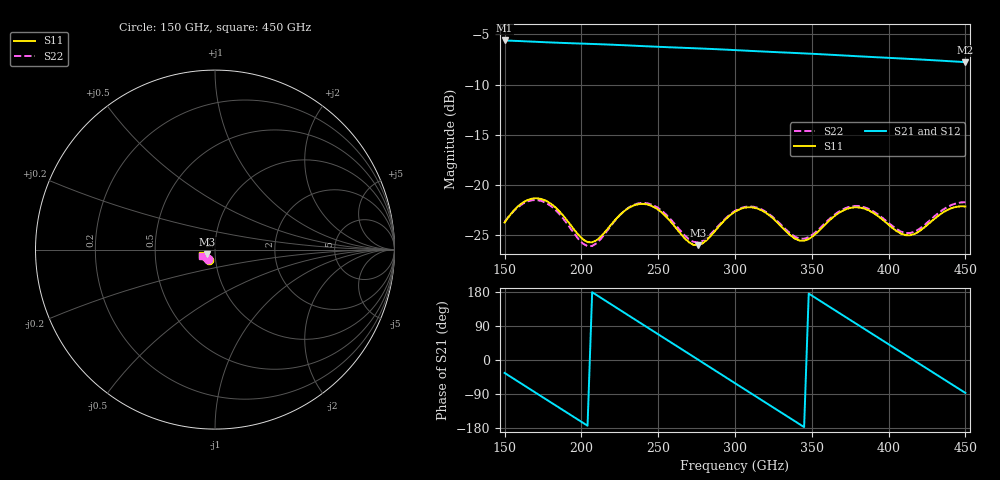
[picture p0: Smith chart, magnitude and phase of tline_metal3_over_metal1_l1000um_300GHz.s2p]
#  GHZ S DB R 50
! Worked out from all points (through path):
!   101 points, 150 GHz to 450 GHz, reference 50 ohm
!   highest |S21| = -5.60 dB at 150 GHz (marker M1); lowest = -7.8 dB at 450 GHz (marker M2)
!   group delay of S21, straight-line fit = 7.16 ps
!   lowest |S11| = -26.0 dB at 276 GHz (marker M3), VSWR 1.11, Z = 45.9 - j2.45 ohm
!   |S11| at or under -10 dB: start of sweep to end of sweep
!   |S22| runs from -26.1 to -21.5 dB; largest |S21 - S12| = 5.8e-14
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150  -23.72 -118.4  -5.60 -34.1  -5.60 -34.1  -23.63 -123.9
162  -21.71 -127.1  -5.68 -65.2  -5.68 -65.2  -21.83 -131.0
174  -21.38 -141.5  -5.76 -96.1  -5.76 -96.1  -21.57 -144.5
186  -22.65 -153.2  -5.84 -127.0  -5.84 -127.0  -22.92 -155.6
201  -25.40 -150.0  -5.92 -165.7  -5.92 -165.7  -25.82 -150.6
216  -24.54 -132.9  -6.00 155.6  -6.00 155.6  -24.70 -131.5
231  -22.25 -138.4  -6.10 116.8  -6.10 116.8  -22.20 -137.2
252  -22.68 -158.5  -6.25 62.7  -6.25 62.7  -22.50 -157.7
264  -24.72 -161.1  -6.32 31.8  -6.32 31.8  -24.45 -160.7
276  -25.97 -147.9  -6.39 0.8  -6.39 0.8  -25.70 -148.7
288  -24.38 -137.5  -6.47 -30.2  -6.47 -30.2  -24.24 -138.5
300  -22.64 -142.0  -6.56 -61.2  -6.56 -61.2  -22.56 -142.6
321  -22.84 -159.5  -6.72 -115.2  -6.72 -115.2  -22.74 -159.5
336  -24.98 -159.6  -6.83 -153.8  -6.83 -153.8  -24.80 -159.6
351  -25.05 -144.0  -6.94 167.5  -6.94 167.5  -24.86 -144.5
366  -22.93 -143.0  -7.06 128.9  -7.06 128.9  -22.79 -143.4
378  -22.20 -151.5  -7.16 98.0  -7.16 98.0  -22.07 -151.7
390  -22.75 -160.0  -7.26 67.2  -7.26 67.2  -22.60 -159.9
402  -24.19 -161.4  -7.35 36.4  -7.35 36.4  -24.01 -161.2
423  -24.24 -145.3  -7.52 -17.6  -7.52 -17.6  -24.01 -145.1
438  -22.49 -147.5  -7.65 -56.2  -7.65 -56.2  -22.19 -146.9
450  -22.12 -155.8  -7.76 -86.9  -7.76 -86.9  -21.70 -154.9
